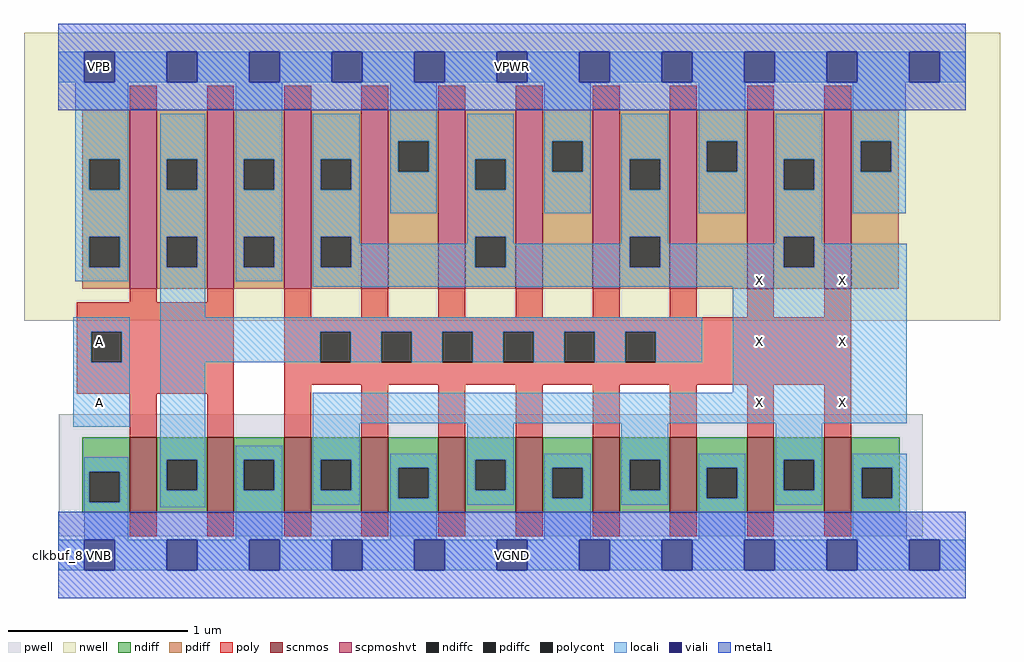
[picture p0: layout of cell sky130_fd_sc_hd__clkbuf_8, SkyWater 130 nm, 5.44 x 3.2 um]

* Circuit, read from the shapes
.subckt sky130_fd_sc_hd__clkbuf_8 A VGND VNB VPB VPWR X
XM1 n1 A VGND VNB sky130_fd_pr__nfet_01v8 w=0.42 l=0.15 m=2
XM2 X n1 VGND VNB sky130_fd_pr__nfet_01v8 w=0.42 l=0.15 m=8
XM3 n1 A VPWR VPB sky130_fd_pr__pfet_01v8_hvt w=1 l=0.15 m=2
XM4 X n1 VPWR VPB sky130_fd_pr__pfet_01v8_hvt w=1 l=0.15 m=8
.ends

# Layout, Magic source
magic
tech sky130B
magscale 1 2
<< nwell >>
rect -38 261 1050 582
<< pwell >>
rect 1 21 964 157
rect 29 -17 63 21
<< scnmos >>
rect 80 47 110 131
rect 166 47 196 131
rect 252 47 282 131
rect 338 47 368 131
rect 424 47 454 131
rect 510 47 540 131
rect 596 47 626 131
rect 682 47 712 131
rect 768 47 798 131
rect 854 47 884 131
<< scpmoshvt >>
rect 80 297 110 497
rect 166 297 196 497
rect 252 297 282 497
rect 338 297 368 497
rect 424 297 454 497
rect 510 297 540 497
rect 596 297 626 497
rect 682 297 712 497
rect 768 297 798 497
rect 854 297 884 497
<< ndiff >>
rect 27 93 80 131
rect 27 59 35 93
rect 69 59 80 93
rect 27 47 80 59
rect 110 106 166 131
rect 110 72 121 106
rect 155 72 166 106
rect 110 47 166 72
rect 196 106 252 131
rect 196 72 207 106
rect 241 72 252 106
rect 196 47 252 72
rect 282 106 338 131
rect 282 72 293 106
rect 327 72 338 106
rect 282 47 338 72
rect 368 97 424 131
rect 368 63 379 97
rect 413 63 424 97
rect 368 47 424 63
rect 454 106 510 131
rect 454 72 465 106
rect 499 72 510 106
rect 454 47 510 72
rect 540 97 596 131
rect 540 63 551 97
rect 585 63 596 97
rect 540 47 596 63
rect 626 106 682 131
rect 626 72 637 106
rect 671 72 682 106
rect 626 47 682 72
rect 712 97 768 131
rect 712 63 723 97
rect 757 63 768 97
rect 712 47 768 63
rect 798 106 854 131
rect 798 72 809 106
rect 843 72 854 106
rect 798 47 854 72
rect 884 97 938 131
rect 884 63 896 97
rect 930 63 938 97
rect 884 47 938 63
<< pdiff >>
rect 27 441 80 497
rect 27 407 35 441
rect 69 407 80 441
rect 27 355 80 407
rect 27 321 35 355
rect 69 321 80 355
rect 27 297 80 321
rect 110 441 166 497
rect 110 407 121 441
rect 155 407 166 441
rect 110 355 166 407
rect 110 321 121 355
rect 155 321 166 355
rect 110 297 166 321
rect 196 441 252 497
rect 196 407 207 441
rect 241 407 252 441
rect 196 355 252 407
rect 196 321 207 355
rect 241 321 252 355
rect 196 297 252 321
rect 282 441 338 497
rect 282 407 293 441
rect 327 407 338 441
rect 282 355 338 407
rect 282 321 293 355
rect 327 321 338 355
rect 282 297 338 321
rect 368 461 424 497
rect 368 427 379 461
rect 413 427 424 461
rect 368 297 424 427
rect 454 441 510 497
rect 454 407 465 441
rect 499 407 510 441
rect 454 355 510 407
rect 454 321 465 355
rect 499 321 510 355
rect 454 297 510 321
rect 540 461 596 497
rect 540 427 551 461
rect 585 427 596 461
rect 540 297 596 427
rect 626 441 682 497
rect 626 407 637 441
rect 671 407 682 441
rect 626 355 682 407
rect 626 321 637 355
rect 671 321 682 355
rect 626 297 682 321
rect 712 461 768 497
rect 712 427 723 461
rect 757 427 768 461
rect 712 297 768 427
rect 798 441 854 497
rect 798 407 809 441
rect 843 407 854 441
rect 798 355 854 407
rect 798 321 809 355
rect 843 321 854 355
rect 798 297 854 321
rect 884 461 937 497
rect 884 427 895 461
rect 929 427 937 461
rect 884 297 937 427
<< ndiffc >>
rect 35 59 69 93
rect 121 72 155 106
rect 207 72 241 106
rect 293 72 327 106
rect 379 63 413 97
rect 465 72 499 106
rect 551 63 585 97
rect 637 72 671 106
rect 723 63 757 97
rect 809 72 843 106
rect 896 63 930 97
<< pdiffc >>
rect 35 407 69 441
rect 35 321 69 355
rect 121 407 155 441
rect 121 321 155 355
rect 207 407 241 441
rect 207 321 241 355
rect 293 407 327 441
rect 293 321 327 355
rect 379 427 413 461
rect 465 407 499 441
rect 465 321 499 355
rect 551 427 585 461
rect 637 407 671 441
rect 637 321 671 355
rect 723 427 757 461
rect 809 407 843 441
rect 809 321 843 355
rect 895 427 929 461
<< poly >>
rect 80 497 110 523
rect 166 497 196 523
rect 252 497 282 523
rect 338 497 368 523
rect 424 497 454 523
rect 510 497 540 523
rect 596 497 626 523
rect 682 497 712 523
rect 768 497 798 523
rect 854 497 884 523
rect 80 282 110 297
rect 166 282 196 297
rect 21 249 196 282
rect 21 215 37 249
rect 71 215 196 249
rect 21 180 196 215
rect 80 131 110 180
rect 166 131 196 180
rect 252 265 282 297
rect 338 265 368 297
rect 424 265 454 297
rect 510 265 540 297
rect 596 265 626 297
rect 682 265 712 297
rect 768 265 798 297
rect 854 265 884 297
rect 252 249 884 265
rect 252 215 292 249
rect 326 215 360 249
rect 394 215 428 249
rect 462 215 496 249
rect 530 215 564 249
rect 598 215 632 249
rect 666 215 884 249
rect 252 190 884 215
rect 252 131 282 190
rect 338 131 368 190
rect 424 131 454 190
rect 510 131 540 190
rect 596 131 626 190
rect 682 131 712 190
rect 768 131 798 190
rect 854 131 884 190
rect 80 21 110 47
rect 166 21 196 47
rect 252 21 282 47
rect 338 21 368 47
rect 424 21 454 47
rect 510 21 540 47
rect 596 21 626 47
rect 682 21 712 47
rect 768 21 798 47
rect 854 21 884 47
<< polycont >>
rect 37 215 71 249
rect 292 215 326 249
rect 360 215 394 249
rect 428 215 462 249
rect 496 215 530 249
rect 564 215 598 249
rect 632 215 666 249
<< locali >>
rect 0 527 29 561
rect 63 527 121 561
rect 155 527 213 561
rect 247 527 305 561
rect 339 527 397 561
rect 431 527 489 561
rect 523 527 581 561
rect 615 527 673 561
rect 707 527 765 561
rect 799 527 857 561
rect 891 527 949 561
rect 983 527 1012 561
rect 19 441 78 527
rect 19 407 35 441
rect 69 407 78 441
rect 19 355 78 407
rect 19 321 35 355
rect 69 321 78 355
rect 19 305 78 321
rect 114 441 164 492
rect 114 407 121 441
rect 155 407 164 441
rect 114 355 164 407
rect 114 321 121 355
rect 155 321 164 355
rect 114 265 164 321
rect 198 441 250 527
rect 198 407 207 441
rect 241 407 250 441
rect 198 355 250 407
rect 198 321 207 355
rect 241 321 250 355
rect 198 305 250 321
rect 284 441 336 492
rect 284 407 293 441
rect 327 407 336 441
rect 284 355 336 407
rect 370 461 422 527
rect 370 427 379 461
rect 413 427 422 461
rect 370 381 422 427
rect 456 441 508 492
rect 456 407 465 441
rect 499 407 508 441
rect 284 321 293 355
rect 327 347 336 355
rect 456 355 508 407
rect 542 461 594 527
rect 542 427 551 461
rect 585 427 594 461
rect 542 381 594 427
rect 628 441 680 492
rect 628 407 637 441
rect 671 407 680 441
rect 456 347 465 355
rect 327 321 465 347
rect 499 347 508 355
rect 628 355 680 407
rect 714 461 766 527
rect 714 427 723 461
rect 757 427 766 461
rect 714 381 766 427
rect 800 441 852 492
rect 800 407 809 441
rect 843 407 852 441
rect 628 347 637 355
rect 499 321 637 347
rect 671 347 680 355
rect 800 355 852 407
rect 886 461 945 527
rect 886 427 895 461
rect 929 427 945 461
rect 886 381 945 427
rect 800 347 809 355
rect 671 321 809 347
rect 843 347 852 355
rect 843 321 946 347
rect 284 299 946 321
rect 17 249 80 265
rect 17 215 37 249
rect 71 215 80 249
rect 17 143 80 215
rect 114 249 718 265
rect 114 215 292 249
rect 326 215 360 249
rect 394 215 428 249
rect 462 215 496 249
rect 530 215 564 249
rect 598 215 632 249
rect 666 215 718 249
rect 29 93 78 109
rect 29 59 35 93
rect 69 59 78 93
rect 29 17 78 59
rect 114 106 164 215
rect 752 181 946 299
rect 284 147 946 181
rect 114 72 121 106
rect 155 72 164 106
rect 114 53 164 72
rect 198 106 250 122
rect 198 72 207 106
rect 241 72 250 106
rect 198 17 250 72
rect 284 106 336 147
rect 284 72 293 106
rect 327 72 336 106
rect 284 56 336 72
rect 370 97 422 113
rect 370 63 379 97
rect 413 63 422 97
rect 370 17 422 63
rect 456 106 508 147
rect 456 72 465 106
rect 499 72 508 106
rect 456 56 508 72
rect 542 97 594 113
rect 542 63 551 97
rect 585 63 594 97
rect 542 17 594 63
rect 628 106 680 147
rect 628 72 637 106
rect 671 72 680 106
rect 628 56 680 72
rect 714 97 766 113
rect 714 63 723 97
rect 757 63 766 97
rect 714 17 766 63
rect 800 106 852 147
rect 800 72 809 106
rect 843 72 852 106
rect 800 56 852 72
rect 886 97 946 113
rect 886 63 896 97
rect 930 63 946 97
rect 886 17 946 63
rect 0 -17 29 17
rect 63 -17 121 17
rect 155 -17 213 17
rect 247 -17 305 17
rect 339 -17 397 17
rect 431 -17 489 17
rect 523 -17 581 17
rect 615 -17 673 17
rect 707 -17 765 17
rect 799 -17 857 17
rect 891 -17 949 17
rect 983 -17 1012 17
<< viali >>
rect 29 527 63 561
rect 121 527 155 561
rect 213 527 247 561
rect 305 527 339 561
rect 397 527 431 561
rect 489 527 523 561
rect 581 527 615 561
rect 673 527 707 561
rect 765 527 799 561
rect 857 527 891 561
rect 949 527 983 561
rect 29 -17 63 17
rect 121 -17 155 17
rect 213 -17 247 17
rect 305 -17 339 17
rect 397 -17 431 17
rect 489 -17 523 17
rect 581 -17 615 17
rect 673 -17 707 17
rect 765 -17 799 17
rect 857 -17 891 17
rect 949 -17 983 17
<< metal1 >>
rect 0 561 1012 592
rect 0 527 29 561
rect 63 527 121 561
rect 155 527 213 561
rect 247 527 305 561
rect 339 527 397 561
rect 431 527 489 561
rect 523 527 581 561
rect 615 527 673 561
rect 707 527 765 561
rect 799 527 857 561
rect 891 527 949 561
rect 983 527 1012 561
rect 0 496 1012 527
rect 0 17 1012 48
rect 0 -17 29 17
rect 63 -17 121 17
rect 155 -17 213 17
rect 247 -17 305 17
rect 339 -17 397 17
rect 431 -17 489 17
rect 523 -17 581 17
rect 615 -17 673 17
rect 707 -17 765 17
rect 799 -17 857 17
rect 891 -17 949 17
rect 983 -17 1012 17
rect 0 -48 1012 -17
<< labels >>
flabel locali s 765 289 799 323 0 FreeSans 200 0 0 0 X
port 6 nsew signal output
flabel locali s 765 153 799 187 0 FreeSans 200 0 0 0 X
port 6 nsew signal output
flabel locali s 29 153 63 187 0 FreeSans 200 0 0 0 A
port 1 nsew signal input
flabel locali s 857 153 891 187 0 FreeSans 200 0 0 0 X
port 6 nsew signal output
flabel locali s 857 289 891 323 0 FreeSans 200 0 0 0 X
port 6 nsew signal output
flabel locali s 765 221 799 255 0 FreeSans 200 0 0 0 X
port 6 nsew signal output
flabel locali s 29 221 63 255 0 FreeSans 200 0 0 0 A
port 1 nsew signal input
flabel locali s 857 221 891 255 0 FreeSans 200 0 0 0 X
port 6 nsew signal output
flabel nwell s 29 527 63 561 0 FreeSans 200 0 0 0 VPB
port 4 nsew power bidirectional
flabel pwell s 29 -17 63 17 0 FreeSans 200 0 0 0 VNB
port 3 nsew ground bidirectional
flabel metal1 s 29 -17 63 17 0 FreeSans 200 0 0 0 VGND
port 2 nsew ground bidirectional abutment
flabel metal1 s 29 527 63 561 0 FreeSans 200 0 0 0 VPWR
port 5 nsew power bidirectional abutment
rlabel comment s 0 0 0 0 4 clkbuf_8
rlabel metal1 s 0 -48 1012 48 1 VGND
port 2 nsew ground bidirectional abutment
rlabel metal1 s 0 496 1012 592 1 VPWR
port 5 nsew power bidirectional abutment
<< properties >>
string FIXED_BBOX 0 0 1012 544
string GDS_END 3184042
string GDS_FILE $PDKPATH/libs.ref/sky130_fd_sc_hd/gds/sky130_fd_sc_hd.gds
string GDS_START 3176300
string LEFclass CORE
string LEFsite unithd
string LEFsymmetry X Y R90
string path 0.000 0.000 25.300 0.000 
<< end >>
